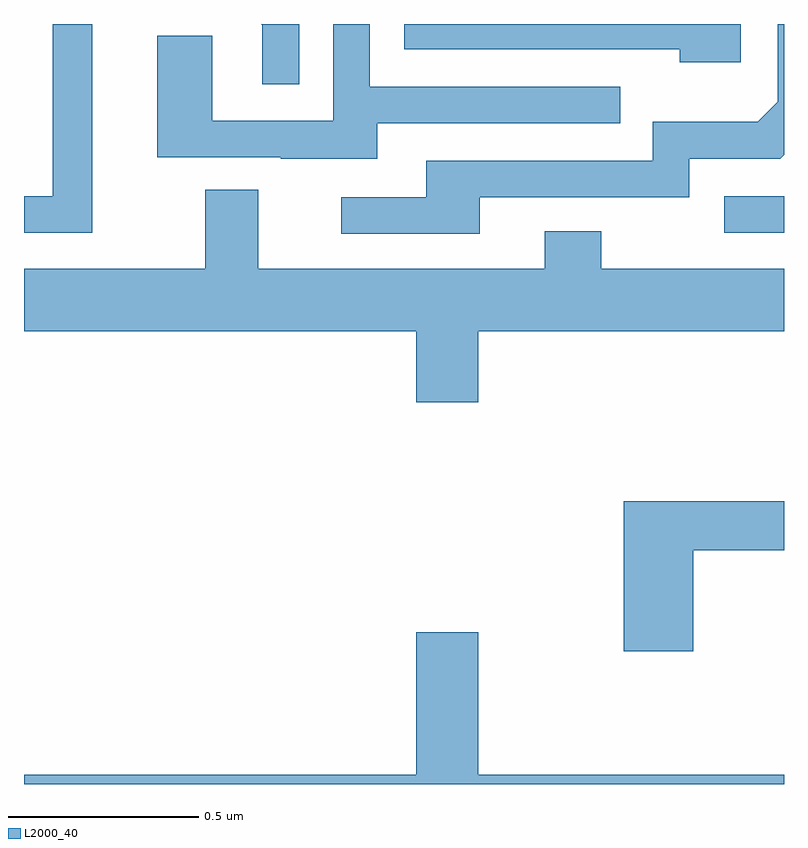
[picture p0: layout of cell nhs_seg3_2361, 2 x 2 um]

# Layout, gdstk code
import gdstk
lib = gdstk.Library(unit=1e-6, precision=1e-09)
def R(c, l, rs):  # rectangles x0, y0, x1, y1
    for r in rs: c.add(gdstk.rectangle(r[:2], r[2:], *l))
def P(c, l, *ps):  # polygons
    for p in ps: c.add(gdstk.Polygon(p, *l))
L2000_40 = (2000, 40)

nhs_seg3_2361 = lib.new_cell('nhs_seg3_2361')
R(nhs_seg3_2361, L2000_40, [(141.843,691.851,142,691.947)])
P(nhs_seg3_2361, L2000_40, [(141.199,691.944),(141.75,691.944),(141.75,692.046),(141.99,692.046),(142,692.056),(142,692.4),(141.984,692.4),(141.984,692.196),(141.931,692.143),(141.654,692.143),(141.654,692.04),(141.059,692.04),(141.059,691.944),(140.835,691.944),(140.835,691.848),(141.199,691.848)],
  [(140.179,692.4),(140.075,692.4),(140.075,691.947),(140,691.947),(140,691.851),(140.179,691.851)],
  [(140.724,692.4),(140.624,692.4),(140.627,692.397),(140.627,692.241),(140.724,692.241)],
  [(141.886,692.4),(141,692.4),(141,692.334),(141.725,692.334),(141.725,692.3),(141.886,692.3)],
  [(140.929,692.139),(141.569,692.139),(141.569,692.235),(140.91,692.235),(140.91,692.4),(140.814,692.4),(140.814,692.145),(140.496,692.145),(140.496,692.369),(140.351,692.369),(140.351,692.049),(140.675,692.049),(140.675,692.045),(140.929,692.045)],
  [(141.196,691.592),(142,691.592),(142,691.756),(141.519,691.756),(141.519,691.855),(141.371,691.855),(141.371,691.756),(140.617,691.756),(140.617,691.964),(140.477,691.964),(140.477,691.756),(140,691.756),(140,691.592),(141.032,691.592),(141.032,691.404),(141.196,691.404)],
  [(141.761,691.015),(142,691.015),(142,691.144),(141.578,691.144),(141.578,690.75),(141.761,690.75)],
  [(142,690.424),(141.196,690.424),(141.196,690.799),(141.032,690.799),(141.032,690.424),(140,690.424),(140,690.4),(142,690.4)])

lib.write_gds('nhs_seg3_2361.gds')
